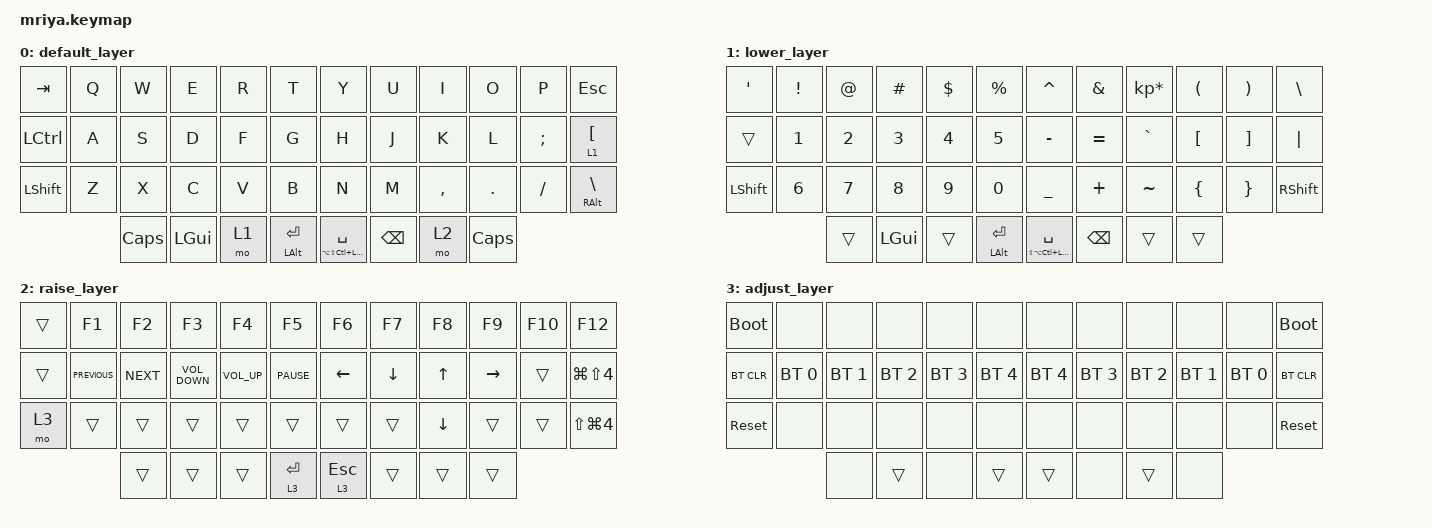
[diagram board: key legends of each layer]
/*
 * Copyright (c) 2023 Andrei Gaevskii
 *
 * SPDX-License-Identifier: MIT
 */

#include <behaviors.dtsi>
#include <dt-bindings/zmk/bt.h>
#include <dt-bindings/zmk/keys.h>

#define DEF 0
#define LWR 1
#define RSE 2
#define ADJ 3

&lt { quick_tap_ms = <200>; };

&mt { quick_tap_ms = <200>; };

/ {
    keymap {
        compatible = "zmk,keymap";

        default_layer {
            bindings = <
  &kp TAB         &kp Q  &kp W         &kp E         &kp R  &kp T               &kp Y                           &kp U          &kp I      &kp O         &kp P     &kp ESCAPE
  &kp LCTRL       &kp A  &kp S         &kp D         &kp F  &kp G               &kp H                           &kp J          &kp K      &kp L         &kp SEMI  &lt 1 LEFT_BRACKET
  &kp LEFT_SHIFT  &kp Z  &kp X         &kp C         &kp V  &kp B               &kp N                           &kp M          &kp COMMA  &kp DOT       &kp FSLH  &mt RALT BSLH
                         &kp CAPSLOCK  &kp LEFT_GUI  &mo 1  &mt LEFT_ALT RET    &mt LA(LS(LC(LEFT_GUI))) SPACE  &kp BACKSPACE  &mo 2      &kp CAPSLOCK
            >;
        };

        lower_layer {
            bindings = <
  &kp APOSTROPHE  &kp EXCL  &kp AT  &kp HASH      &kp DOLLAR  &kp PERCENT       &kp CARET                       &kp AMPS       &kp KP_MULTIPLY  &kp LEFT_PARENTHESIS  &kp RPAR         &kp BACKSLASH
  &trans          &kp N1    &kp N2  &kp N3        &kp N4      &kp N5            &kp MINUS                       &kp EQUAL      &kp GRAVE        &kp LBKT              &kp RBKT         &kp PIPE
  &kp LEFT_SHIFT  &kp N6    &kp N7  &kp N8        &kp N9      &kp N0            &kp UNDER                       &kp PLUS       &kp TILDE        &kp LEFT_BRACE        &kp RIGHT_BRACE  &kp RIGHT_SHIFT
                            &trans  &kp LEFT_GUI  &trans      &mt LALT ENTER    &mt LS(LA(LC(LEFT_GUI))) SPACE  &kp BACKSPACE  &trans           &trans
            >;
        };

        raise_layer {
            bindings = <
  &trans  &kp F1          &kp F2      &kp F3             &kp F4        &kp F5         &kp F6          &kp F7          &kp F8    &kp F9     &kp F10  &kp F12
  &trans  &kp C_PREVIOUS  &kp C_NEXT  &kp C_VOLUME_DOWN  &kp C_VOL_UP  &kp C_PAUSE    &kp LEFT_ARROW  &kp DOWN_ARROW  &kp UP    &kp RIGHT  &trans   &kp LG(LS(N4))
  &mo 3   &trans          &trans      &trans             &trans        &trans         &trans          &trans          &kp DOWN  &trans     &trans   &kp LS(LG(NUMBER_4))
                          &trans      &trans             &trans        &lt 3 RET      &lt 3 ESC       &trans          &trans    &trans
            >;
        };

        adjust_layer {
            bindings = <
  &bootloader  &none         &none         &none         &none         &none           &none         &none         &none         &none         &none         &bootloader
  &bt BT_CLR   &bt BT_SEL 0  &bt BT_SEL 1  &bt BT_SEL 2  &bt BT_SEL 3  &bt BT_SEL 4    &bt BT_SEL 4  &bt BT_SEL 3  &bt BT_SEL 2  &bt BT_SEL 1  &bt BT_SEL 0  &bt BT_CLR
  &sys_reset   &none         &none         &none         &none         &none           &none         &none         &none         &none         &none         &sys_reset
                             &none         &trans        &none         &trans          &trans        &none         &trans        &none
            >;
        };
    };
};
